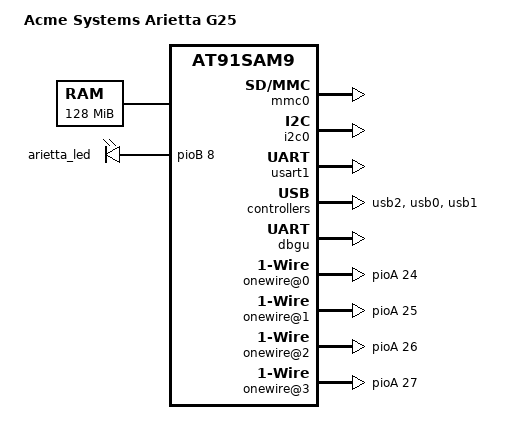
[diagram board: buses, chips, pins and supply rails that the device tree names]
/* acme-arietta.dts - Device Tree file for Arietta G25 */
/dts-v1/;
#include "at91sam9g25.dtsi"
/ {
	model = "Acme Systems Arietta G25";
	compatible = "acme,ariettag25", "atmel,at91sam9x5", "atmel,at91sam9";
	aliases {
		serial0 = &dbgu;
	};
	chosen {
		stdout-path = "serial0:115200n8";
		bootargs = "mem=128M  console=ttyS0,115200 root=/dev/mmcblk0p2 rw rootwait";
	};
	memory {
		reg = <0x20000000 0x8000000>;
	};
	clocks {
		slow_xtal {
			clock-frequency = <32768>;
		};
		main_xtal {
			clock-frequency = <12000000>;
		};
	};
	ahb {
		apb {
			mmc0: mmc@f0008000 {
				pinctrl-0 = <
				  &pinctrl_mmc0_slot0_clk_cmd_dat0
				  &pinctrl_mmc0_slot0_dat1_3>;
				status = "okay";
				slot@0 {
					reg = <0>;
					bus-width = <4>;
				};
			};
			i2c0: i2c@f8010000 {
				status ="okay";
			};
			usart1: serial@f8020000 {
				pinctrl-0 = <&pinctrl_usart1>;
				linux,rs485-enabled-at-boot-time;
				rs485-rts-delay = <0 0>;
				status ="okay";
			};
			ssc0: ssc@f0010000 {
				status = "okay";
			};
			usb2: gadget@f803c000 {
				status = "okay";
			};
			dbgu: serial@fffff200 {
				status = "okay";
			};
			pinctrl@fffff400 {
				w1_0 {
					pinctrl_w1_0: w1_0-0 {
						/* pull up on */
						atmel,pins = <2 2 0x0 0x1>;
					};
				};

			};
			rtc@fffffeb0 {
				status = "okay";
			};
		};
		usb0: ohci@00600000 {
			status = "okay";
			num-ports = <3>;
		};
		usb1: ehci@00700000 {
			status = "okay";
		};
	};
	leds {
		compatible = "gpio-leds";
		arietta_led {
			label = "arietta_led";
			gpios = <&pioB 8 GPIO_ACTIVE_HIGH>; /* PB8 */
			linux,default-trigger = "heartbeat";

		};
	};
	onewire@0 {
		compatible = "w1-gpio";
		gpios = <&pioA 24 GPIO_ACTIVE_LOW>;
		pinctrl-names = "default";
		pinctrl-0 = <&pinctrl_w1_0>;
	};
	onewire@1 {
		compatible = "w1-gpio";
		gpios = <&pioA 25 GPIO_ACTIVE_LOW>;
		pinctrl-names = "default";
		pinctrl-0 = <&pinctrl_w1_0>;
	};
	onewire@2 {
		compatible = "w1-gpio";
		gpios = <&pioA 26 GPIO_ACTIVE_LOW>;
		pinctrl-names = "default";
		pinctrl-0 = <&pinctrl_w1_0>;
	};
	onewire@3 {
		compatible = "w1-gpio";
		gpios = <&pioA 27 GPIO_ACTIVE_LOW>;
		pinctrl-names = "default";
		pinctrl-0 = <&pinctrl_w1_0>;
	};
};
